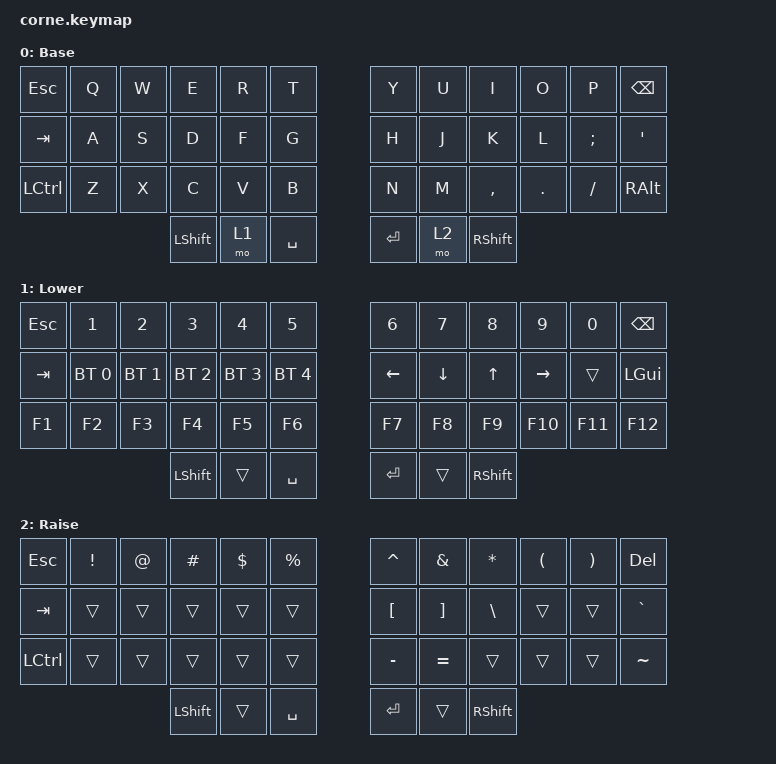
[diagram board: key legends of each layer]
/*
 * Copyright (c) 2020 The ZMK Contributors
 *
 * SPDX-License-Identifier: MIT
 */

#include <behaviors.dtsi>
#include <zephyr/dt-bindings/gpio/gpio.h>
#include <dt-bindings/zmk/keys.h>
#include <dt-bindings/zmk/bt.h>

&nice_view_spi {
        cs-gpios = <&pro_micro 8 GPIO_ACTIVE_HIGH>;
};

/ {
        keymap {
                compatible = "zmk,keymap";

                default_layer {
                        display-name = "Base";

// -----------------------------------------------------------------------------------------
// | ESC |  Q  |  W  |  E  |  R  |  T  |   |  Y  |  U   |  I  |  O  |  P  | BSPC |
// | TAB |  A  |  S  |  D  |  F  |  G  |   |  H  |  J   |  K  |  L  |  ;  |  '   |
// | CTRL |  Z  |  X  |  C  |  V  |  B  |   |  N  |  M   |  ,  |  .  |  /  | ALT  |
//                    | SHFT | LWR | SPC |   | ENT | RSE  | SHFT |
                        bindings = <
   &kp ESC   &kp Q &kp W &kp E &kp R &kp T   &kp Y &kp U  &kp I     &kp O   &kp P    &kp BSPC
   &kp TAB &kp A &kp S &kp D &kp F &kp G   &kp H &kp J  &kp K     &kp L   &kp SEMI &kp SQT
   &kp LCTRL &kp Z &kp X &kp C &kp V &kp B   &kp N &kp M  &kp COMMA &kp DOT &kp FSLH &kp RALT
                  &kp LSHFT &mo 1 &kp SPACE   &kp RET &mo 2 &kp RSHIFT
                        >;
                };
                lower_layer {
                        display-name = "Lower";
// -----------------------------------------------------------------------------------------
// | ESC |  1  |  2  |  3  |  4  |  5  |   |  6  |  7  |  8  |  9  |  0  | BSPC |
// | TAB | BT1 | BT2 | BT3 | BT4 | BT5 |   | LFT | DWN |  UP | RGT |     | LGUI  |
// | F1 | F2 | F3 | F4 | F5      | F6  |   | F7  | F8  |  F9 | F10 | F11 |  F12 |
//                    | SHIFT |     | SPC |   | ENT |     | SHIFT |
                        bindings = <
   &kp ESC    &kp N1       &kp N2       &kp N3       &kp N4       &kp N5         &kp N6   &kp N7   &kp N8 &kp N9    &kp N0 &kp BSPC
//   &bt BT_CLR &bt BT_SEL 0 &bt BT_SEL 1 &bt BT_SEL 2 &bt BT_SEL 3 &bt BT_SEL 4   &kp LEFT &kp DOWN &kp UP &kp RIGHT &trans &trans
   &kp TAB &bt BT_SEL 0 &bt BT_SEL 1 &bt BT_SEL 2 &bt BT_SEL 3 &bt BT_SEL 4   &kp LEFT &kp DOWN &kp UP &kp RIGHT &trans &kp LGUI
   &kp F1  &kp F2       &kp F3       &kp F4       &kp F5       &kp F6         &kp F7   &kp F8   &kp F9 &kp F10    &kp F11 &kp F12
                                    &kp LSHFT      &trans       &kp SPACE      &kp RET  &trans   &kp RSHIFT 
                        >;
                };

                raise_layer {
                        display-name = "Raise";
// -----------------------------------------------------------------------------------------
// | ESC |  !  |  @  |  #  |  $  |  %  |   |  ^  |  &  |  *  |  (  |  )  | DEL |
// | TAB |     |     |     |     |     |   |  [  |  ]  |  \  |     |     |  `   |
// | CTRL |     |     |     |     |    |   |  -  |  =  |     |     |     |      |
//                    | LSHIFT |     | SPC |   | ENT |     | RSHIFT |
                        bindings = <
   &kp  ESC  &kp EXCL &kp AT &kp HASH &kp DLLR &kp PRCNT   &kp CARET &kp AMPS  &kp ASTRK &kp LPAR &kp RPAR &kp DEL
   &kp TAB &trans   &trans &trans   &trans   &trans      &kp LBKT &kp RBKT &kp BACKSLASH  &trans &trans &kp GRAVE
   &kp LCTRL &trans   &trans &trans   &trans   &trans      &kp MINUS    &kp EQUAL    &trans    &trans    &trans   &kp TILDE
                             &kp LSHFT  &trans   &kp SPACE   &kp RET   &trans    &kp RSHIFT
                        >;
                };
        };
};
